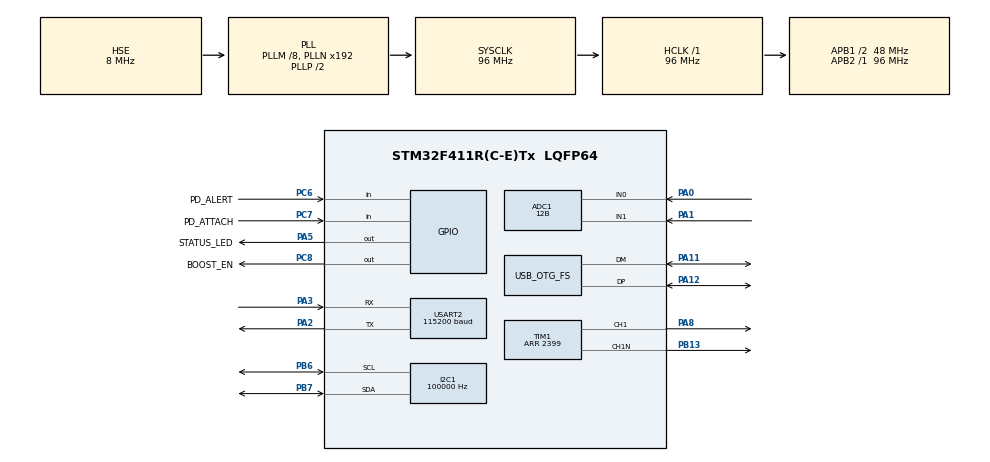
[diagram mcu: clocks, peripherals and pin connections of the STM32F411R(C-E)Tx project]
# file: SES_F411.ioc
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ADC1.Channel-0\#ChannelRegularConversion=ADC_CHANNEL_0
ADC1.Channel-1\#ChannelRegularConversion=ADC_CHANNEL_1
ADC1.ClockPrescaler=ADC_CLOCK_SYNC_PCLK_DIV4
ADC1.ContinuousConvMode=DISABLE
ADC1.DMAContinuousRequests=ENABLE
ADC1.EOCSelection=ADC_EOC_SEQ_CONV
ADC1.ExternalTrigConv=ADC_EXTERNALTRIGCONV_T2_TRGO
ADC1.ExternalTrigConvEdge=ADC_EXTERNALTRIGCONVEDGE_RISING
ADC1.NbrOfConversion=2
ADC1.NbrOfConversionFlag=1
ADC1.Rank-0\#ChannelRegularConversion=1
ADC1.Rank-1\#ChannelRegularConversion=2
ADC1.Resolution=ADC_RESOLUTION_12B
ADC1.SamplingTime-0\#ChannelRegularConversion=ADC_SAMPLETIME_15CYCLES
ADC1.SamplingTime-1\#ChannelRegularConversion=ADC_SAMPLETIME_15CYCLES
ADC1.ScanConvMode=ENABLE
Dma.ADC1.0.Direction=DMA_PERIPH_TO_MEMORY
Dma.ADC1.0.FIFOMode=DMA_FIFOMODE_DISABLE
Dma.ADC1.0.Instance=DMA2_Stream0
Dma.ADC1.0.MemDataAlignment=DMA_MDATAALIGN_HALFWORD
Dma.ADC1.0.MemInc=DMA_MINC_ENABLE
Dma.ADC1.0.Mode=DMA_NORMAL
Dma.ADC1.0.PeriphDataAlignment=DMA_PDATAALIGN_HALFWORD
Dma.ADC1.0.PeriphInc=DMA_PINC_DISABLE
Dma.ADC1.0.Priority=DMA_PRIORITY_HIGH
Dma.Request0=ADC1
I2C1.ClockSpeed=100000
Mcu.Family=STM32F4
Mcu.Name=STM32F411R(C-E)Tx
Mcu.Package=LQFP64
NVIC.DMA2_Stream0_IRQn=true\:5\:0\:true\:false\:true\:false\:true\:true
NVIC.OTG_FS_IRQn=true\:6\:0\:true\:false\:true\:false\:true\:true
NVIC.PriorityGroup=NVIC_PRIORITYGROUP_4
PA0-WKUP.Signal=ADCx_IN0
PA1.Signal=ADCx_IN1
PA11.Mode=Device_Only
PA11.Signal=USB_OTG_FS_DM
PA12.Mode=Device_Only
PA12.Signal=USB_OTG_FS_DP
PA13.Mode=Serial_Wire
PA13.Signal=SYS_JTMS-SWDIO
PA14.Mode=Serial_Wire
PA14.Signal=SYS_JTCK-SWCLK
PA2.Mode=Asynchronous
PA2.Signal=USART2_TX
PA3.Mode=Asynchronous
PA3.Signal=USART2_RX
PA5.GPIO_Label=STATUS_LED
PA5.Signal=GPIO_Output
PA8.Signal=S_TIM1_CH1
PB13.Signal=S_TIM1_CH1N
PB6.Mode=I2C
PB6.Signal=I2C1_SCL
PB7.Mode=I2C
PB7.Signal=I2C1_SDA
PC6.GPIO_Label=PD_ALERT
PC6.Signal=GPIO_Input
PC7.GPIO_Label=PD_ATTACH
PC7.Signal=GPIO_Input
PC8.GPIO_Label=BOOST_EN
PC8.Signal=GPIO_Output
PH0\ -\ OSC_IN.Mode=HSE-External-Oscillator
PH0\ -\ OSC_IN.Signal=RCC_OSC_IN
PH1\ -\ OSC_OUT.Mode=HSE-External-Oscillator
PH1\ -\ OSC_OUT.Signal=RCC_OSC_OUT
ProjectManager.HeapSize=0x400
ProjectManager.StackSize=0x800
ProjectManager.TargetToolchain=STM32CubeIDE
RCC.48MHZClocksFreq_Value=48000000
RCC.AHBFreq_Value=96000000
RCC.APB1CLKDivider=RCC_HCLK_DIV2
RCC.APB1Freq_Value=48000000
RCC.APB1TimFreq_Value=96000000
RCC.APB2Freq_Value=96000000
RCC.APB2TimFreq_Value=96000000
RCC.CortexFreq_Value=96000000
RCC.HCLKFreq_Value=96000000
RCC.HSE_VALUE=8000000
RCC.HSI_VALUE=16000000
RCC.PLLM=8
RCC.PLLN=192
RCC.PLLQ=4
RCC.PLLSourceVirtual=RCC_PLLSOURCE_HSE
RCC.SYSCLKFreq_VALUE=96000000
RCC.SYSCLKSource=RCC_SYSCLKSOURCE_PLLCLK
RCC.VCOOutputFreq_Value=192000000
SH.ADCx_IN0.0=ADC1_IN0,IN0
SH.ADCx_IN1.0=ADC1_IN1,IN1
SH.S_TIM1_CH1.0=TIM1_CH1,PWM Generation1 CH1 CH1N
SH.S_TIM1_CH1N.0=TIM1_CH1N,PWM Generation1 CH1 CH1N
TIM1.AutoReloadPreload=TIM_AUTORELOAD_PRELOAD_ENABLE
TIM1.Channel-PWM\ Generation1\ CH1\ CH1N=TIM_CHANNEL_1
TIM1.DeadTime=24
TIM1.OnePulse=TIM_OPMODE_SINGLE
TIM1.Period=2399
TIM1.Pulse-PWM\ Generation1\ CH1\ CH1N=1200
TIM1.RepetitionCounter=7
TIM2.AutoReloadPreload=TIM_AUTORELOAD_PRELOAD_ENABLE
TIM2.MasterOutputTrigger=TIM_TRGO_UPDATE
TIM2.Period=479
USART2.BaudRate=115200
USART2.VirtualMode=VM_ASYNC
USB_DEVICE.CLASS_NAME_FS=CDC
USB_DEVICE.USBD_HandleTypeDef=hUsbDeviceFS
USB_DEVICE.VirtualMode=Cdc
USB_DEVICE.VirtualModeFS=Cdc_FS
USB_OTG_FS.VirtualMode=Device_Only
VP_TIM2_VS_ClockSourceINT.Mode=Internal
VP_USB_DEVICE_VS_USB_DEVICE_CDC_FS.Mode=CDC_FS

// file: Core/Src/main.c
/* USER CODE BEGIN Header */
/**
 ******************************************************************************
 * @file    main.c
 * @brief   Sonar Environmental Scanner (SES) - Hauptprogramm
 *
 * Zielhardware: SonarLandscapeScanner V1_1, STM32F411RET6
 *   - HSE 8 MHz Quarz -> PLL -> 96 MHz SYSCLK, 48 MHz USB
 *   - ADC1 IN0/IN1 (Mikrofone via INA333), TIM2-getriggert, DMA2 Stream0
 *   - TIM1 CH1/CH1N: 40-kHz-Burst fuer MA40S4S-Treiberstufe
 *   - I2C1 (PB6/PB7): STUSB4500 USB-PD-Controller
 *   - USART2 (PA2/PA3): Debug-Konsole 115200 8N1
 *   - USB OTG FS Device, CDC (virtueller COM-Port) -> Host-Protokoll
 ******************************************************************************
 */
/* USER CODE END Header */

#include "main.h"
#include "usb_device.h"

/* USER CODE BEGIN Includes */
#include <stdio.h>
#include <string.h>
#include "sonar.h"
#include "stusb4500.h"
#include "proto.h"
/* USER CODE END Includes */

ADC_HandleTypeDef hadc1;
DMA_HandleTypeDef hdma_adc1;
I2C_HandleTypeDef hi2c1;
TIM_HandleTypeDef htim1;
TIM_HandleTypeDef htim2;
UART_HandleTypeDef huart2;

/* USER CODE BEGIN PV */
static uint32_t s_led_t0;
/* USER CODE END PV */

void SystemClock_Config(void);
static void MX_GPIO_Init(void);
static void MX_DMA_Init(void);
static void MX_ADC1_Init(void);
static void MX_TIM1_Init(void);
static void MX_TIM2_Init(void);
static void MX_I2C1_Init(void);
static void MX_USART2_UART_Init(void);

/* USER CODE BEGIN 0 */
/** printf-Umleitung auf USART2 (Debug) */
int __io_putchar(int ch)
{
    (void)HAL_UART_Transmit(&huart2, (uint8_t *)&ch, 1u, 10u);
    return ch;
}

void HAL_ADC_ConvCpltCallback(ADC_HandleTypeDef *hadc)
{
    if (hadc->Instance == ADC1) {
        sonar_on_adc_complete();
    }
}

void HAL_ADC_ConvHalfCpltCallback(ADC_HandleTypeDef *hadc)
{
    if (hadc->Instance == ADC1) {
        sonar_on_adc_half();
    }
}
/* USER CODE END 0 */

int main(void)
{

    HAL_Init();
    SystemClock_Config();

    MX_GPIO_Init();
    MX_DMA_Init();
    MX_ADC1_Init();
    MX_TIM1_Init();
    MX_TIM2_Init();
    MX_I2C1_Init();
    MX_USART2_UART_Init();
    MX_USB_DEVICE_Init();

    /* USER CODE BEGIN 2 */
    printf("\r\nSES Firmware v%d.%d.%d (STM32F411RET6)\r\n",
           SES_FW_VERSION_MAJOR, SES_FW_VERSION_MINOR, SES_FW_VERSION_PATCH);

    sonar_init(&hadc1, &htim1, &htim2);
    proto_init();

    if (stusb4500_init(&hi2c1) == HAL_OK) {
        printf("STUSB4500 erkannt\r\n");
    } else {
        printf("WARNUNG: STUSB4500 antwortet nicht\r\n");
    }

    /* Boost-Wandler (Sender-Versorgung) zunaechst aus */
    HAL_GPIO_WritePin(SES_BOOST_EN_PORT, SES_BOOST_EN_PIN, GPIO_PIN_RESET);
    s_led_t0 = HAL_GetTick();
    /* USER CODE END 2 */

    while (1)
    {
        /* USER CODE BEGIN WHILE */
        proto_task();

        /* Heartbeat: 1 Hz idle, 5 Hz im Streaming */
        uint32_t period = (g_sonar.state == SONAR_STREAMING) ? 100u : 500u;
        if ((HAL_GetTick() - s_led_t0) >= period) {
            s_led_t0 = HAL_GetTick();
            HAL_GPIO_TogglePin(SES_LED_PORT, SES_LED_PIN);
        }
        /* USER CODE END WHILE */
    }
}

/**
 * @brief Systemtakt: HSE 8 MHz -> PLL (M=8, N=192, P=2, Q=4)
 *        SYSCLK 96 MHz, AHB 96 MHz, APB1 48 MHz, APB2 96 MHz, USB 48 MHz
 */
void SystemClock_Config(void)
{
    RCC_OscInitTypeDef RCC_OscInitStruct = {0};
    RCC_ClkInitTypeDef RCC_ClkInitStruct = {0};

    __HAL_RCC_PWR_CLK_ENABLE();
    __HAL_PWR_VOLTAGESCALING_CONFIG(PWR_REGULATOR_VOLTAGE_SCALE1);

    RCC_OscInitStruct.OscillatorType = RCC_OSCILLATORTYPE_HSE;
    RCC_OscInitStruct.HSEState = RCC_HSE_ON;
    RCC_OscInitStruct.PLL.PLLState = RCC_PLL_ON;
    RCC_OscInitStruct.PLL.PLLSource = RCC_PLLSOURCE_HSE;
    RCC_OscInitStruct.PLL.PLLM = 8;
    RCC_OscInitStruct.PLL.PLLN = 192;
    RCC_OscInitStruct.PLL.PLLP = RCC_PLLP_DIV2;
    RCC_OscInitStruct.PLL.PLLQ = 4;
    if (HAL_RCC_OscConfig(&RCC_OscInitStruct) != HAL_OK) {
        Error_Handler();
    }

    RCC_ClkInitStruct.ClockType = RCC_CLOCKTYPE_HCLK | RCC_CLOCKTYPE_SYSCLK
                                | RCC_CLOCKTYPE_PCLK1 | RCC_CLOCKTYPE_PCLK2;
    RCC_ClkInitStruct.SYSCLKSource = RCC_SYSCLKSOURCE_PLLCLK;
    RCC_ClkInitStruct.AHBCLKDivider = RCC_SYSCLK_DIV1;
    RCC_ClkInitStruct.APB1CLKDivider = RCC_HCLK_DIV2;
    RCC_ClkInitStruct.APB2CLKDivider = RCC_HCLK_DIV1;
    if (HAL_RCC_ClockConfig(&RCC_ClkInitStruct, FLASH_LATENCY_3) != HAL_OK) {
        Error_Handler();
    }
}

/**
 * @brief ADC1: 12 Bit, Scan IN0+IN1, Trigger TIM2 TRGO, DMA
 */
static void MX_ADC1_Init(void)
{
    ADC_ChannelConfTypeDef sConfig = {0};

    hadc1.Instance = ADC1;
    hadc1.Init.ClockPrescaler = ADC_CLOCK_SYNC_PCLK_DIV4;   /* 24 MHz ADCCLK */
    hadc1.Init.Resolution = ADC_RESOLUTION_12B;
    hadc1.Init.ScanConvMode = ENABLE;
    hadc1.Init.ContinuousConvMode = DISABLE;
    hadc1.Init.DiscontinuousConvMode = DISABLE;
    hadc1.Init.ExternalTrigConvEdge = ADC_EXTERNALTRIGCONVEDGE_RISING;
    hadc1.Init.ExternalTrigConv = ADC_EXTERNALTRIGCONV_T2_TRGO;
    hadc1.Init.DataAlign = ADC_DATAALIGN_RIGHT;
    hadc1.Init.NbrOfConversion = 2;
    hadc1.Init.DMAContinuousRequests = ENABLE;
    hadc1.Init.EOCSelection = ADC_EOC_SEQ_CONV;
    if (HAL_ADC_Init(&hadc1) != HAL_OK) {
        Error_Handler();
    }

    sConfig.Channel = ADC_CHANNEL_0;                        /* PA0, links    */
    sConfig.Rank = 1;
    sConfig.SamplingTime = ADC_SAMPLETIME_15CYCLES;
    if (HAL_ADC_ConfigChannel(&hadc1, &sConfig) != HAL_OK) {
        Error_Handler();
    }

    sConfig.Channel = ADC_CHANNEL_1;                        /* PA1, rechts   */
    sConfig.Rank = 2;
    if (HAL_ADC_ConfigChannel(&hadc1, &sConfig) != HAL_OK) {
        Error_Handler();
    }
}

/**
 * @brief TIM1: 40-kHz-PWM, One-Pulse + Repetition Counter = Burstlaenge,
 *        CH1/CH1N komplementaer mit Totzeit fuer Halbbrueckentreiber
 */
static void MX_TIM1_Init(void)
{
    TIM_OC_InitTypeDef sConfigOC = {0};
    TIM_BreakDeadTimeConfigTypeDef sBreakDeadTimeConfig = {0};

    const uint32_t period = (SES_TIM1_CLK_HZ / SES_TX_FREQ_HZ);  /* 2400    */

    htim1.Instance = TIM1;
    htim1.Init.Prescaler = 0;
    htim1.Init.CounterMode = TIM_COUNTERMODE_UP;
    htim1.Init.Period = period - 1u;
    htim1.Init.ClockDivision = TIM_CLOCKDIVISION_DIV1;
    htim1.Init.RepetitionCounter = SES_TX_DEFAULT_PULSES - 1u;
    htim1.Init.AutoReloadPreload = TIM_AUTORELOAD_PRELOAD_ENABLE;
    if (HAL_TIM_PWM_Init(&htim1) != HAL_OK) {
        Error_Handler();
    }
    if (HAL_TIM_OnePulse_Init(&htim1, TIM_OPMODE_SINGLE) != HAL_OK) {
        Error_Handler();
    }

    sConfigOC.OCMode = TIM_OCMODE_PWM1;
    sConfigOC.Pulse = period / 2u;                          /* 50 % Duty     */
    sConfigOC.OCPolarity = TIM_OCPOLARITY_HIGH;
    sConfigOC.OCNPolarity = TIM_OCNPOLARITY_HIGH;
    sConfigOC.OCFastMode = TIM_OCFAST_DISABLE;
    sConfigOC.OCIdleState = TIM_OCIDLESTATE_RESET;
    sConfigOC.OCNIdleState = TIM_OCNIDLESTATE_RESET;
    if (HAL_TIM_PWM_ConfigChannel(&htim1, &sConfigOC, TIM_CHANNEL_1) != HAL_OK) {
        Error_Handler();
    }

    /* Totzeit: SES_TX_DEADTIME_NS bei 96 MHz Timertakt (DTG < 128)          */
    sBreakDeadTimeConfig.OffStateRunMode = TIM_OSSR_DISABLE;
    sBreakDeadTimeConfig.OffStateIDLEMode = TIM_OSSI_DISABLE;
    sBreakDeadTimeConfig.LockLevel = TIM_LOCKLEVEL_OFF;
    sBreakDeadTimeConfig.DeadTime =
        (uint32_t)((uint64_t)SES_TX_DEADTIME_NS * SES_TIM1_CLK_HZ / 1000000000u);
    sBreakDeadTimeConfig.BreakState = TIM_BREAK_DISABLE;
    sBreakDeadTimeConfig.BreakPolarity = TIM_BREAKPOLARITY_HIGH;
    sBreakDeadTimeConfig.AutomaticOutput = TIM_AUTOMATICOUTPUT_DISABLE;
    if (HAL_TIMEx_ConfigBreakDeadTime(&htim1, &sBreakDeadTimeConfig) != HAL_OK) {
        Error_Handler();
    }

    HAL_TIM_MspPostInit(&htim1);        /* PA8/PB13 als TIM1_CH1/CH1N       */
}

/**
 * @brief TIM2: Update-TRGO mit SES_ADC_FS_HZ als ADC-Abtasttrigger
 *        (APB1-Timertakt = 2 x PCLK1 = 96 MHz)
 */
static void MX_TIM2_Init(void)
{
    TIM_MasterConfigTypeDef sMasterConfig = {0};

    htim2.Instance = TIM2;
    htim2.Init.Prescaler = 0;
    htim2.Init.CounterMode = TIM_COUNTERMODE_UP;
    htim2.Init.Period = (96000000u / SES_ADC_FS_HZ) - 1u;   /* 480 -> 200 kHz */
    htim2.Init.ClockDivision = TIM_CLOCKDIVISION_DIV1;
    htim2.Init.AutoReloadPreload = TIM_AUTORELOAD_PRELOAD_ENABLE;
    if (HAL_TIM_Base_Init(&htim2) != HAL_OK) {
        Error_Handler();
    }

    sMasterConfig.MasterOutputTrigger = TIM_TRGO_UPDATE;
    sMasterConfig.MasterSlaveMode = TIM_MASTERSLAVEMODE_DISABLE;
    if (HAL_TIMEx_MasterConfigSynchronization(&htim2, &sMasterConfig) != HAL_OK) {
        Error_Handler();
    }
}

/**
 * @brief I2C1: 100 kHz, STUSB4500 (Adr. 0x28)
 */
static void MX_I2C1_Init(void)
{
    hi2c1.Instance = I2C1;
    hi2c1.Init.ClockSpeed = 100000;
    hi2c1.Init.DutyCycle = I2C_DUTYCYCLE_2;
    hi2c1.Init.OwnAddress1 = 0;
    hi2c1.Init.AddressingMode = I2C_ADDRESSINGMODE_7BIT;
    hi2c1.Init.DualAddressMode = I2C_DUALADDRESS_DISABLE;
    hi2c1.Init.OwnAddress2 = 0;
    hi2c1.Init.GeneralCallMode = I2C_GENERALCALL_DISABLE;
    hi2c1.Init.NoStretchMode = I2C_NOSTRETCH_DISABLE;
    if (HAL_I2C_Init(&hi2c1) != HAL_OK) {
        Error_Handler();
    }
}

/**
 * @brief USART2: Debug-Konsole 115200 8N1
 */
static void MX_USART2_UART_Init(void)
{
    huart2.Instance = USART2;
    huart2.Init.BaudRate = 115200;
    huart2.Init.WordLength = UART_WORDLENGTH_8B;
    huart2.Init.StopBits = UART_STOPBITS_1;
    huart2.Init.Parity = UART_PARITY_NONE;
    huart2.Init.Mode = UART_MODE_TX_RX;
    huart2.Init.HwFlowCtl = UART_HWCONTROL_NONE;
    huart2.Init.OverSampling = UART_OVERSAMPLING_16;
    if (HAL_UART_Init(&huart2) != HAL_OK) {
        Error_Handler();
    }
}

static void MX_DMA_Init(void)
{
    __HAL_RCC_DMA2_CLK_ENABLE();

    HAL_NVIC_SetPriority(DMA2_Stream0_IRQn, 5, 0);
    HAL_NVIC_EnableIRQ(DMA2_Stream0_IRQn);
}

static void MX_GPIO_Init(void)
{
    GPIO_InitTypeDef GPIO_InitStruct = {0};

    __HAL_RCC_GPIOA_CLK_ENABLE();
    __HAL_RCC_GPIOB_CLK_ENABLE();
    __HAL_RCC_GPIOC_CLK_ENABLE();
    __HAL_RCC_GPIOH_CLK_ENABLE();

    /* Ausgaenge: LED, BOOST_EN */
    HAL_GPIO_WritePin(STATUS_LED_GPIO_Port, STATUS_LED_Pin, GPIO_PIN_RESET);
    HAL_GPIO_WritePin(BOOST_EN_GPIO_Port, BOOST_EN_Pin, GPIO_PIN_RESET);

    GPIO_InitStruct.Pin = STATUS_LED_Pin;
    GPIO_InitStruct.Mode = GPIO_MODE_OUTPUT_PP;
    GPIO_InitStruct.Pull = GPIO_NOPULL;
    GPIO_InitStruct.Speed = GPIO_SPEED_FREQ_LOW;
    HAL_GPIO_Init(STATUS_LED_GPIO_Port, &GPIO_InitStruct);

    GPIO_InitStruct.Pin = BOOST_EN_Pin;
    HAL_GPIO_Init(BOOST_EN_GPIO_Port, &GPIO_InitStruct);

    /* Eingaenge: STUSB4500 ALERT (open drain, extern 10k Pullup), ATTACH */
    GPIO_InitStruct.Pin = PD_ALERT_Pin | PD_ATTACH_Pin;
    GPIO_InitStruct.Mode = GPIO_MODE_INPUT;
    GPIO_InitStruct.Pull = GPIO_NOPULL;
    HAL_GPIO_Init(GPIOC, &GPIO_InitStruct);
}

void Error_Handler(void)
{
    __disable_irq();
    while (1) {
        /* Fehler: LED statisch an lassen waere hier nicht moeglich (IRQ aus),
         * daher Endlosschleife - Watchdog/Debugger nutzen. */
    }
}
